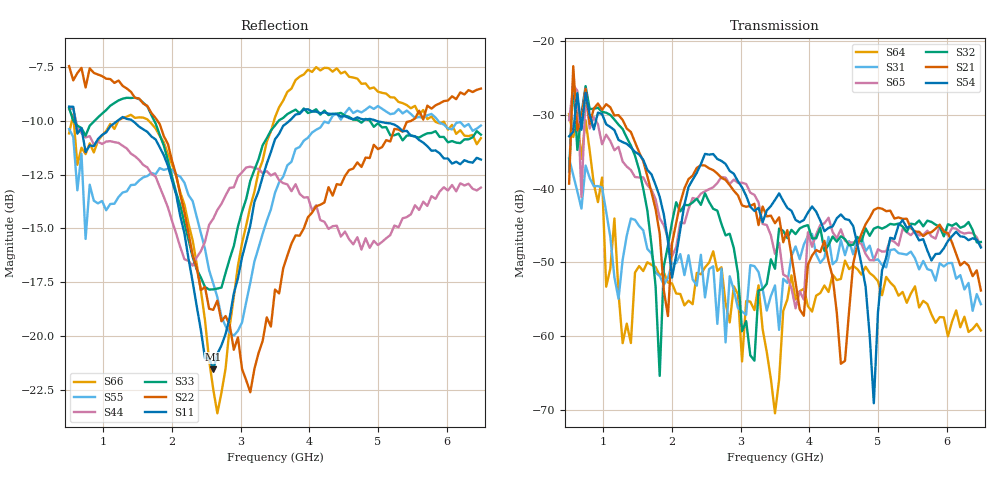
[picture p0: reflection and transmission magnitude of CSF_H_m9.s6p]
!Keysight Technologies,M9804A,MY58100912,A.14.10.03
!Date: Thursday, April 27, 2023 10:28:33
!Correction: S11(C  6-Port  )
!S12(C  6-Port  )
!S13(C  6-Port  )
!S14(C  6-Port  )
!S15(C  6-Port  )
!S16(C  6-Port  )
!S21(C  6-Port  )
!S22(C  6-Port  )
!S23(C  6-Port  )
!S24(C  6-Port  )
!S25(C  6-Port  )
!S26(C  6-Port  )
!S31(C  6-Port  )
!S32(C  6-Port  )
!S33(C  6-Port  )
!S34(C  6-Port  )
!S35(C  6-Port  )
!S36(C  6-Port  )
!S41(C  6-Port  )
!S42(C  6-Port  )
!S43(C  6-Port  )
!S44(C  6-Port  )
!S45(C  6-Port  )
!S46(C  6-Port  )
!S51(C  6-Port  )
!S52(C  6-Port  )
!S53(C  6-Port  )
!S54(C  6-Port  )
!S55(C  6-Port  )
!S56(C  6-Port  )
!S61(C  6-Port  )
!S62(C  6-Port  )
!S63(C  6-Port  )
!S64(C  6-Port  )
!S65(C  6-Port  )
!S66(C  6-Port  )
!S6P File: Measurement: :
# Hz S  RI  R 50
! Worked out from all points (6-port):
!   101 points, 500 MHz to 6.5 GHz, reference 50 ohm
!   strongest paths, dB at 500 MHz, 2 GHz, 3.5 GHz, 5 GHz, 6.5 GHz:
!     S54: -32.9, -52.1, -41.5, -56.8, -48.0
!     S21: -39.3, -47.4, -44.7, -42.6, -53.8
!     S32: -37.7, -44.5, -50.9, -45.2, -47.2
!     S65: -30.7, -49.2, -48.9, -48.2, -47.8
!     S31: -35.9, -50.1, -53.2, -49.6, -55.7
!     S64: -29.9, -52.9, -70.5, -52.6, -59.3
!   lowest |S11| = -21.5 dB at 2.6 GHz (marker M1), VSWR 1.18, Z = 42.5 + j2.07 ohm
!   |S11| at or under -10 dB: 590.9 MHz to 1.209 GHz (618.1 MHz wide, 68.7 % of centre); 1.42 GHz to 3.712 GHz (2.293 GHz wide, 89.3 % of centre); 4.97 GHz to end of sweep
